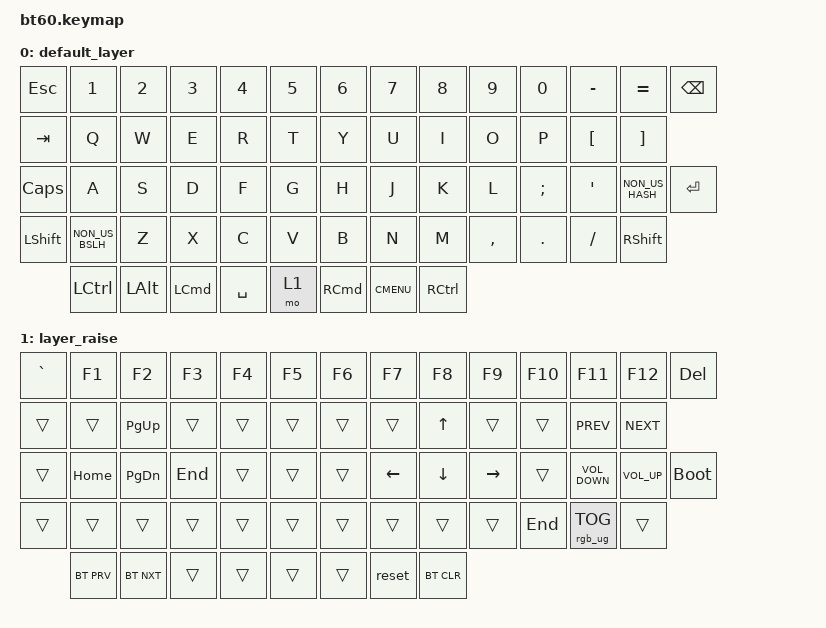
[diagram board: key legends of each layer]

/*
 * Copyright (c) 2020 The ZMK Contributors
 *
 * SPDX-License-Identifier: MIT
 */


/* THIS FILE WAS GENERATED!
 *
 * This file was generated automatically. You may or may not want to
 * edit it directly.
 */

#include <behaviors.dtsi>
#include <dt-bindings/zmk/keys.h>
#include <dt-bindings/zmk/rgb.h>
#include <dt-bindings/zmk/bt.h>

/ {
    keymap {
        compatible = "zmk,keymap";


        default_layer {
            bindings = <
   &kp ESC           &kp N1    &kp N2            &kp N3     &kp N4  &kp N5              &kp N6       &kp N7     &kp N8     &kp N9    &kp N0  &kp MINUS        &kp EQUAL  &kp BSPC
   &kp TAB            &kp Q     &kp W             &kp E      &kp R   &kp T               &kp Y        &kp U      &kp I      &kp O     &kp P   &kp LBKT         &kp RBKT
  &kp CLCK            &kp A     &kp S             &kp D      &kp F   &kp G               &kp H        &kp J      &kp K      &kp L  &kp SEMI    &kp SQT  &kp NON_US_HASH   &kp RET
 &kp LSHFT  &kp NON_US_BSLH     &kp Z             &kp X      &kp C   &kp V               &kp B        &kp N      &kp M  &kp COMMA   &kp DOT   &kp FSLH        &kp RSHFT
                  &kp LCTRL  &kp LALT  &kp LEFT_COMMAND  &kp SPACE   &mo 1            &kp RCMD  &kp K_CMENU  &kp RCTRL
            >;
        };

        layer_raise {
            bindings = <
 &kp GRAVE      &kp F1         &kp F2   &kp F3  &kp F4  &kp F5            &kp F6          &kp F7          &kp F8           &kp F9  &kp F10            &kp F11       &kp F12      &kp DEL
    &trans      &trans    &kp PAGE_UP   &trans  &trans  &trans            &trans          &trans    &kp UP_ARROW           &trans   &trans         &kp C_PREV    &kp C_NEXT
    &trans    &kp HOME  &kp PAGE_DOWN  &kp END  &trans  &trans            &trans  &kp LEFT_ARROW  &kp DOWN_ARROW  &kp RIGHT_ARROW   &trans  &kp C_VOLUME_DOWN  &kp C_VOL_UP  &bootloader
    &trans      &trans         &trans   &trans  &trans  &trans            &trans          &trans          &trans           &trans  &kp END    &rgb_ug RGB_TOG        &trans
            &bt BT_PRV     &bt BT_NXT   &trans  &trans  &trans            &trans          &reset      &bt BT_CLR
            >;
        };

    };
};
